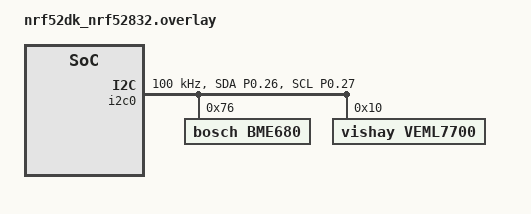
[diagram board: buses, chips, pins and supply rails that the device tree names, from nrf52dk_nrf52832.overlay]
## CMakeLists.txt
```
cmake_minimum_required(VERSION 3.20.0)
find_package(Zephyr REQUIRED HINTS $ENV{ZEPHYR_BASE})

project(mhz19e)

target_sources(app PRIVATE src/main.c)
target_sources(app PRIVATE src/ui.c)
```

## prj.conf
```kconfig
# --- Core Console & System ---
CONFIG_PRINTK=y
CONFIG_STDOUT_CONSOLE=y
CONFIG_REBOOT=y

# --- UI Module (UART) ---
CONFIG_SERIAL=y
CONFIG_UART_ASYNC_API=y

# --- Hardware & Sensor Framework ---
CONFIG_I2C=y
CONFIG_SENSOR=y

# Enable both sensor drivers
CONFIG_BME680=y
CONFIG_VEML7700=y

# --- Floating Point for printk (T:%.2f) ---
CONFIG_CBPRINTF_FP_SUPPORT=y
```

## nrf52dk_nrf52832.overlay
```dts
&i2c0 {
    compatible = "nordic,nrf-twim";
    status = "okay";
    clock-frequency = <I2C_BITRATE_STANDARD>;

    /* THESE ARE THE CRITICAL LINES THAT WERE MISSING */
    pinctrl-0 = <&i2c0_default>;
    pinctrl-1 = <&i2c0_sleep>;
    pinctrl-names = "default", "sleep";

    /* BME680 Sensor */
    bme680@76 {
        compatible = "bosch,bme680";
        reg = <0x76>;
        label = "BME680";
        status = "okay";
    };

    /* VEML7700 Sensor */
    veml7700@10 {
        compatible = "vishay,veml7700";
        reg = <0x10>;
        label = "VEML7700";
        status = "okay";
    };
};
&pinctrl {
    i2c0_default: i2c0_default {
        group1 {
            psels = <NRF_PSEL(TWIM_SDA, 0, 26)>,
                    <NRF_PSEL(TWIM_SCL, 0, 27)>;
        };
    };

    i2c0_sleep: i2c0_sleep {
        group1 {
            psels = <NRF_PSEL(TWIM_SDA, 0, 26)>,
                    <NRF_PSEL(TWIM_SCL, 0, 27)>;
            low-power-enable;
        };
    };

};


// &pinctrl {
//     i2c0_default: i2c0_default {
//         group1 {
//             psels = <NRF_PSEL(TWIM_SDA, 0, 26)>,
//                     <NRF_PSEL(TWIM_SCL, 0, 27)>;
//         };
//     };

//     i2c0_sleep: i2c0_sleep {
//         group1 {
//             psels = <NRF_PSEL(TWIM_SDA, 0, 26)>,
//                     <NRF_PSEL(TWIM_SCL, 0, 27)>;
//             low-power-enable;
//         };
//     };

// };


// // &i2c1 {
// //     compatible = "nordic,nrf-twim";
// //     status = "okay";

// //     clock-frequency = <I2C_BITRATE_STANDARD>;

// //     mysensor: veml7700@10 {
// //         status = "okay";
// //         compatible = "vishay,veml7700";
// //         reg = <0x10>;
// //         psm-mode = <0x00>;
// //         label = "VEML7700";

// //     };
// //     // mysensor: veml7700@10 {
// //         //     compatible = "veml7700";
// //         //     reg = <0x10>;
// //         //     label = "VEML7700";
// //     // };
// // };

// &i2c0 {
//     compatible = "nordic,nrf-twim";
//     status = "okay";

//     clock-frequency = <I2C_BITRATE_STANDARD>;

//     veml7700: veml7700@10 {
//         compatible = "vishay,veml7700";
//         reg = <0x10>;
//         status = "okay";
//         label = "VEML7700";
//     };
// };
```

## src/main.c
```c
#include <zephyr/kernel.h>
#include <zephyr/device.h>
#include <zephyr/drivers/sensor.h>
#include <zephyr/sys/printk.h>      // Native Zephyr logging
#include "ui.h"

double t = 0, h = 0, p = 0, l = 0;

int main(void)
{
    if (ui_init() != 0) return -1;  // Initialize UART-based UI for user input

    /* ---------------- BME680 DEVICE ---------------- */
    // Get BME680 sensor device instance using Devicetree compatibility
    const struct device *bme = DEVICE_DT_GET_ANY(bosch_bme680);

    // Check if BME680 device is ready for use
    if (!device_is_ready(bme))
    {
        printk("BME680 is not ready\n");
        return -1;
    }

    /* ---------------- VEML7700 DEVICE ---------------- */
    // Get VEML7700 sensor device instance using Devicetree compatibility
    const struct device *veml = DEVICE_DT_GET_ANY(vishay_veml7700);

    // Check if VEML7700 device is ready for use
    if (!device_is_ready(veml))
    {
        printk("VEML7700 device not ready\n");
        return -1;
    }

    /* ---------------- Sensor Value Structures ---------------- */
    struct sensor_value temp, hum, press;   // Structures for BME680 sensor data
    struct sensor_value lux;                 // Structure for VEML7700 light intensity

    printk("BME680 + VEML7700 started successfully\n");

    while (1)
    {
        /* ----------- BME680 READ ----------- */
        if (sensor_sample_fetch(bme) == 0)
        {
            sensor_channel_get(bme, SENSOR_CHAN_AMBIENT_TEMP, &temp);
            sensor_channel_get(bme, SENSOR_CHAN_HUMIDITY, &hum);
            sensor_channel_get(bme, SENSOR_CHAN_PRESS, &press);

            t = sensor_value_to_double(&temp);
            h = sensor_value_to_double(&hum);
            p = sensor_value_to_double(&press) * 10; // hPa
        }
        else
        {
            printk("Error: BME680 fetch failed\n");
            continue;
        }

        /* ----------- VEML7700 READ ----------- */
        if (sensor_sample_fetch(veml) == 0 &&
            sensor_channel_get(veml, SENSOR_CHAN_LIGHT, &lux) == 0)
        {
            l = sensor_value_to_double(&lux);
        }
        else
        {
            printk("Error: VEML7700 fetch failed\n");
            continue;
        }

        // Exact print format preserved
        printk("T:%.2f,H:%.2f,P:%.2f,L:%.2f\n", t, h, p, l);

        // Get the updated delay interval from the UI
        int target_ms = ui_get_interval_ms();
        int elapsed_ms = 0;

        // Check for updates every 100ms while waiting for next reading
        while (elapsed_ms < target_ms) {
            if (ui_interval_changed()) {
                ui_clear_change_flag();
                break; // Restart loop with new interval immediately
            }
            k_msleep(100);
            elapsed_ms += 100;
        }
    }
    
    return 0;
}
```
